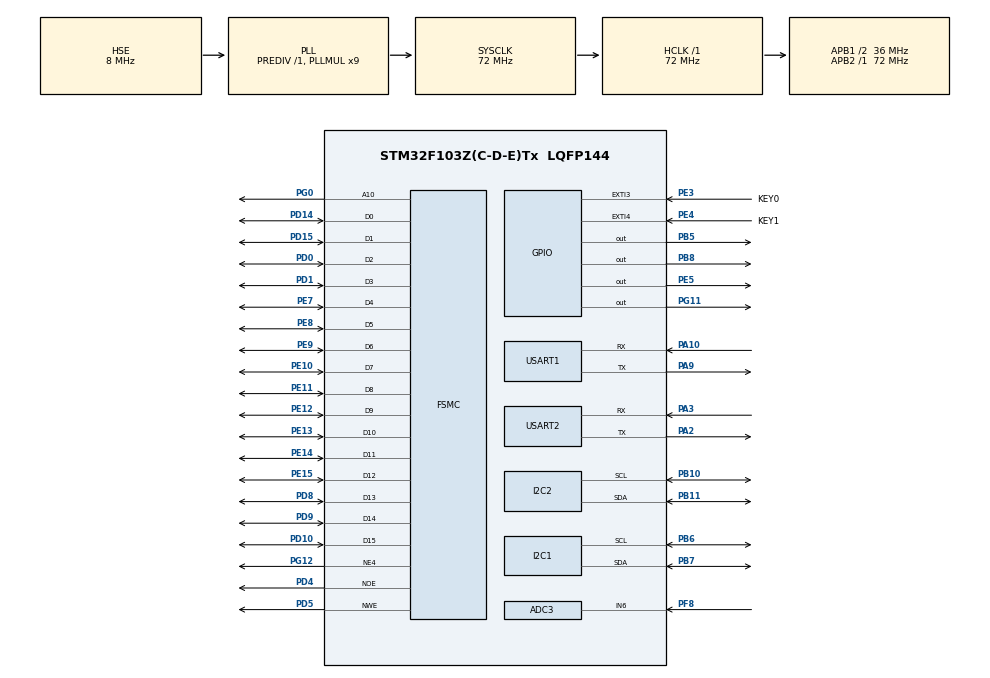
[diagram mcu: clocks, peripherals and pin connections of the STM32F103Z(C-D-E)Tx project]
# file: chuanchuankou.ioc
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ADC3.Channel-2\#ChannelRegularConversion=ADC_CHANNEL_6
ADC3.NbrOfConversionFlag=1
ADC3.Rank-2\#ChannelRegularConversion=1
ADC3.SamplingTime-2\#ChannelRegularConversion=ADC_SAMPLETIME_1CYCLE_5
Mcu.Family=STM32F1
Mcu.Name=STM32F103Z(C-D-E)Tx
Mcu.Package=LQFP144
NVIC.EXTI3_IRQn=true\:0\:0\:true\:false\:true\:true\:true\:true
NVIC.EXTI4_IRQn=true\:1\:0\:true\:false\:true\:true\:true\:true
NVIC.PriorityGroup=NVIC_PRIORITYGROUP_4
OSC_IN.Mode=HSE-External-Oscillator
OSC_IN.Signal=RCC_OSC_IN
OSC_OUT.Mode=HSE-External-Oscillator
OSC_OUT.Signal=RCC_OSC_OUT
PA10.Mode=Asynchronous
PA10.Signal=USART1_RX
PA13.Mode=Serial_Wire
PA13.Signal=SYS_JTMS-SWDIO
PA14.Mode=Serial_Wire
PA14.Signal=SYS_JTCK-SWCLK
PA2.Mode=Asynchronous
PA2.Signal=USART2_TX
PA3.Mode=Asynchronous
PA3.Signal=USART2_RX
PA9.Mode=Asynchronous
PA9.Signal=USART1_TX
PB10.Mode=I2C
PB10.Signal=I2C2_SCL
PB11.Mode=I2C
PB11.Signal=I2C2_SDA
PB5.Signal=GPIO_Output
PB6.Mode=I2C
PB6.Signal=I2C1_SCL
PB7.Mode=I2C
PB7.Signal=I2C1_SDA
PB8.Signal=GPIO_Output
PD0.Signal=FSMC_D2_DA2
PD1.Signal=FSMC_D3_DA3
PD10.Signal=FSMC_D15_DA15
PD14.Signal=FSMC_D0_DA0
PD15.Signal=FSMC_D1_DA1
PD4.Signal=FSMC_NOE
PD5.Signal=FSMC_NWE
PD8.Signal=FSMC_D13_DA13
PD9.Signal=FSMC_D14_DA14
PE10.Signal=FSMC_D7_DA7
PE11.Signal=FSMC_D8_DA8
PE12.Signal=FSMC_D9_DA9
PE13.Signal=FSMC_D10_DA10
PE14.Signal=FSMC_D11_DA11
PE15.Signal=FSMC_D12_DA12
PE3.GPIO_Label=KEY0
PE3.GPIO_ModeDefaultEXTI=GPIO_MODE_IT_FALLING
PE3.Signal=GPXTI3
PE4.GPIO_Label=KEY1
PE4.GPIO_ModeDefaultEXTI=GPIO_MODE_IT_FALLING
PE4.Signal=GPXTI4
PE5.Signal=GPIO_Output
PE7.Signal=FSMC_D4_DA4
PE8.Signal=FSMC_D5_DA5
PE9.Signal=FSMC_D6_DA6
PF8.Mode=IN6
PF8.Signal=ADC3_IN6
PG0.Signal=FSMC_A10
PG11.GPIO_ModeDefaultOutputPP=GPIO_MODE_OUTPUT_OD
PG11.GPIO_PuPd=GPIO_PULLUP
PG11.Signal=GPIO_Output
PG12.Mode=NorPsramChipSelect4_1
PG12.Signal=FSMC_NE4
ProjectManager.HeapSize=0x200
ProjectManager.StackSize=0x400
ProjectManager.TargetToolchain=CMake
RCC.AHBFreq_Value=72000000
RCC.APB1CLKDivider=RCC_HCLK_DIV2
RCC.APB1Freq_Value=36000000
RCC.APB1TimFreq_Value=72000000
RCC.APB2Freq_Value=72000000
RCC.APB2TimFreq_Value=72000000
RCC.HCLKFreq_Value=72000000
RCC.PLLMUL=RCC_PLL_MUL9
RCC.PLLSourceVirtual=RCC_PLLSOURCE_HSE
RCC.SYSCLKFreq_VALUE=72000000
RCC.SYSCLKSource=RCC_SYSCLKSOURCE_PLLCLK
RCC.USBFreq_Value=72000000
SH.FSMC_A10.0=FSMC_A10,A10_1
SH.FSMC_D0_DA0.0=FSMC_D0,16b-d1
SH.FSMC_D10_DA10.0=FSMC_D10,16b-d1
SH.FSMC_D11_DA11.0=FSMC_D11,16b-d1
SH.FSMC_D12_DA12.0=FSMC_D12,16b-d1
SH.FSMC_D13_DA13.0=FSMC_D13,16b-d1
SH.FSMC_D14_DA14.0=FSMC_D14,16b-d1
SH.FSMC_D15_DA15.0=FSMC_D15,16b-d1
SH.FSMC_D1_DA1.0=FSMC_D1,16b-d1
SH.FSMC_D2_DA2.0=FSMC_D2,16b-d1
SH.FSMC_D3_DA3.0=FSMC_D3,16b-d1
SH.FSMC_D4_DA4.0=FSMC_D4,16b-d1
SH.FSMC_D5_DA5.0=FSMC_D5,16b-d1
SH.FSMC_D6_DA6.0=FSMC_D6,16b-d1
SH.FSMC_D7_DA7.0=FSMC_D7,16b-d1
SH.FSMC_D8_DA8.0=FSMC_D8,16b-d1
SH.FSMC_D9_DA9.0=FSMC_D9,16b-d1
SH.FSMC_NOE.0=FSMC_NOE,Lcd1
SH.FSMC_NWE.0=FSMC_NWE,Lcd1
USART1.VirtualMode=VM_ASYNC
USART2.VirtualMode=VM_ASYNC
VP_TIM1_VS_ClockSourceINT.Mode=Internal
board=custom

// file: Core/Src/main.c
/* USER CODE BEGIN Header */
/**
  ******************************************************************************
  * @file           : main.c
  * @brief          : Main program body
  ******************************************************************************
  * @attention
  *
  * Copyright (c) 2025 STMicroelectronics.
  * All rights reserved.
  *
  * This software is licensed under terms that can be found in the LICENSE file
  * in the root directory of this software component.
  * If no LICENSE file comes with this software, it is provided AS-IS.
  *
  ******************************************************************************
  */
/* USER CODE END Header */
#include "main.h"
#include "adc.h"
#include "i2c.h"
#include "tim.h"
#include "usart.h"
#include "gpio.h"
#include "fsmc.h"

/* USER CODE BEGIN Includes */
//#include "globals.h"
#include "tct.h"
#include "string.h"
#include "dht11.h"
//#include "stdlib.h"
//#include "lcdfont.h"
//#include "adc.h"
/* USER CODE END Includes */

/* USER CODE BEGIN PV */
volatile uint8_t exit_inner_loop = 0;
/* USER CODE END PV */

void SystemClock_Config(void);

/* USER CODE BEGIN 0 */
uint8_t PCF8591_Read_AIN1(I2C_HandleTypeDef *hi2c) {
  uint8_t cmd = 0x41;
  uint8_t adc_data = 0;
  HAL_I2C_Master_Transmit(hi2c, 0x90, &cmd, 1, 100);
  HAL_I2C_Master_Receive(hi2c, 0x90, &adc_data, 1, 100);
  return adc_data;
}

uint8_t PCF8591_Read_AIN2(I2C_HandleTypeDef *hi2c) {
  uint8_t cmd2 = 0x42;
  uint8_t adc_data2 = 0;
  HAL_I2C_Master_Transmit(hi2c, 0x90, &cmd2, 1, 100);
  HAL_I2C_Master_Receive(hi2c, 0x90, &adc_data2, 1, 100);
  return adc_data2;
}

/* USER CODE END 0 */

int main(void)
{

  /* MCU Configuration--------------------------------------------------------*/

  /* Reset of all peripherals, Initializes the Flash interface and the Systick. */
  HAL_Init();

  /* Configure the system clock */
  SystemClock_Config();

  /* Initialize all configured peripherals */
  MX_GPIO_Init();
  MX_FSMC_Init();
  MX_USART1_UART_Init();
  MX_I2C2_Init();
  MX_USART2_UART_Init();
  MX_ADC3_Init();
  MX_I2C1_Init();
  MX_TIM1_Init();
  /* USER CODE BEGIN 2 */
  HAL_TIM_Base_Start(&htim1); // Start TIM1 for DHT11 delays
    delay_init(72);
    uint8_t humidity;
  uint8_t MyTemP;
  dht11_init();
  uint8_t temperature;
  char god[64];
  uint16_t t = 0;

    led_init();
    lcd_init();
    //adc_temperature_init();
  //short temp;
    //lcd_show_string(30, 50, 200, 16, 16, "hello world");
  /* USER CODE END 2 */

  /* Infinite loop */
  /* USER CODE BEGIN WHILE */

    HAL_GPIO_TogglePin(LED0_GPIO_Port, LED0_Pin);
    HAL_GPIO_TogglePin(LED1_GPIO_Port, LED1_Pin);

 HAL_GPIO_WritePin(GPIOB, GPIO_PIN_8, GPIO_PIN_SET);
  HAL_Delay(70);

    HAL_GPIO_TogglePin(LED0_GPIO_Port, LED0_Pin);
    HAL_GPIO_TogglePin(LED1_GPIO_Port, LED1_Pin);

  HAL_GPIO_WritePin(GPIOB, GPIO_PIN_8, GPIO_PIN_RESET);
  HAL_Delay(170);

    HAL_GPIO_TogglePin(LED0_GPIO_Port, LED0_Pin);
    HAL_GPIO_TogglePin(LED1_GPIO_Port, LED1_Pin);

  HAL_GPIO_WritePin(GPIOB,GPIO_PIN_8,GPIO_PIN_SET);
  HAL_Delay(70);

    HAL_GPIO_TogglePin(LED0_GPIO_Port, LED0_Pin);
    HAL_GPIO_TogglePin(LED1_GPIO_Port, LED1_Pin);

  HAL_GPIO_WritePin(GPIOB, GPIO_PIN_8, GPIO_PIN_RESET);HAL_Delay(170);

    HAL_GPIO_TogglePin(LED0_GPIO_Port, LED0_Pin);
    HAL_GPIO_TogglePin(LED1_GPIO_Port, LED1_Pin);

  HAL_GPIO_WritePin(GPIOB,GPIO_PIN_8,GPIO_PIN_SET);
  HAL_Delay(800);
  HAL_GPIO_WritePin(GPIOB,GPIO_PIN_8,GPIO_PIN_RESET);

    Chinese_Show_one(95,20, 20, 16, 0);
    Chinese_Show_one(110,20, 21, 16, 0);
    Chinese_Show_one(125,20, 22, 16, 0);
    Chinese_Show_one(140,20, 23, 16, 0);
    Chinese_Show_one(155,20, 24, 16, 0);
    Chinese_Show_one(170,20, 25, 16, 0);
    Chinese_Show_one(185,20, 26, 16, 0);
    Chinese_Show_one(200,20, 27, 16, 0);
    Chinese_Show_one(215,20, 28, 16, 0);

    delay_ms(10);
     lcd_show_string(60, 50, 200, 18, 16, "@@...@@ ######### @@...@@",  BLACK);
    delay_ms(20);
     lcd_show_string(60, 70, 200, 18, 16, "#@@...@@ ####### @@...@@#", BLACK);//1   25个字符
    delay_ms(30);
     lcd_show_string(60, 90, 200, 18, 16, "# @@....@ ##### @....@@ #", BLACK);//2
    delay_ms(40);
    lcd_show_string(60, 110, 200, 18, 16, "## @.....@ ### @.....@ ##", BLACK);//3
    delay_ms(50);
    lcd_show_string(60, 130, 200, 18, 16, "### @@....@ # @....@@ ###", BLACK);//4
    delay_ms(60);
    lcd_show_string(60, 150, 200, 18, 16, "######@.... @ ....@######", BLACK);//5
    delay_ms(70);
    lcd_show_string(60, 170, 200, 18, 16, "######@.... @ ....@######", BLACK);//6
    delay_ms(80);
    lcd_show_string(60, 190, 200, 18, 16, "### @@....@ # @....@@ ###", BLACK);//7
    delay_ms(100);
    lcd_show_string(60, 210, 200, 18, 16, "## @.....@ ### @.....@ ##", BLACK);//8
    delay_ms(100);
    lcd_show_string(60, 230, 200, 18, 16, "# @.....@ ##### @.....@ #", BLACK);//9
    delay_ms(80);
    lcd_show_string(60, 250, 200, 18, 16, "#@@...@@ ####### @@...@@#", BLACK);//10
    delay_ms(70);
    lcd_show_string(60, 270, 200, 18, 16, "@@...@@ ######### @@...@@", BLACK);//11
    HAL_Delay(60);
  //show_picture(60, 50, 120, 240,(unsigned short *)gImage_HEAD240240);
    //show_picture(60, 50, 60, 60,A);
  HAL_Delay(100);
//how_picture(60, 50,60,360,gImage_tct)
// show_picture(01, 80, 360, 180,(unsigned short *)gImage_tct);
//Display_picture(60, 50, 240, 240,(unsigned short *)gImage_tct);
  HAL_Delay(100);

    lcd_show_string(60, 290, 200, 18, 16, "-------------------------", BLACK);
    delay_ms(10);
    lcd_show_string(60, 290, 200, 18, 16, "-H-----------------------", BLACK);
    delay_ms(5);
    lcd_show_string(60, 290, 200, 18, 16, "-HE----------------------", BLACK);
    delay_ms(5);
    lcd_show_string(60, 290, 200, 18, 16, "-HEL---------------------", BLACK);
    delay_ms(5);
    lcd_show_string(60, 290, 200, 18, 16, "-HELL--------------------", BLACK);
    delay_ms(5);
    lcd_show_string(60, 290, 200, 18, 16, "-HELLO-------------------", BLACK);
    delay_ms(5);
    lcd_show_string(60, 290, 200, 18, 16, "-HELLO-W-----------------", BLACK);
    delay_ms(5);
    lcd_show_string(60, 290, 200, 18, 16, "-HELLO-WO----------------", BLACK);
    delay_ms(5);
    lcd_show_string(60, 290, 200, 18, 16, "-HELLO-WOR---------------", BLACK);
    delay_ms(5);
    lcd_show_string(60, 290, 200, 18, 16, "-HELLO-WORL--------------", BLACK);
    delay_ms(5);
    lcd_show_string(60, 290, 200, 18, 16, "-HELLO-WORLD-------------", BLACK);
    delay_ms(5);
    lcd_show_string(60, 290, 200, 18, 16, "-HELLO-WORLD-H-----------", BLACK);
    delay_ms(5);
    lcd_show_string(60, 290, 200, 18, 16, "-HELLO-WORLD-HE----------", BLACK);
    delay_ms(5);
    lcd_show_string(60, 290, 200, 18, 16, "-HELLO-WORLD-HEL---------", BLACK);
    delay_ms(5);
    lcd_show_string(60, 290, 200, 18, 16, "-HELLO-WORLD-HELL--------", BLACK);
    delay_ms(5);
    lcd_show_string(60, 290, 200, 18, 16, "-HELLO-WORLD-HELLO-------", BLACK);
    delay_ms(5);
    lcd_show_string(60, 290, 200, 18, 16, "-HELLO-WORLD-HELLO-W-----", BLACK);
    delay_ms(5);
    lcd_show_string(60, 290, 200, 18, 16, "-HELLO-WORLD-HELLO-WO----", BLACK);
    delay_ms(5);
    lcd_show_string(60, 290, 200, 18, 16, "-HELLO-WORLD-HELLO-WOR---", BLACK);
    delay_ms(5);
    lcd_show_string(60, 290, 200, 18, 16, "-HELLO-WORLD-HELLO-WORL--", BLACK);
    delay_ms(5);
    lcd_show_string(60, 290, 200, 18, 16, "-HELLO-WORLD-HELLO-WORLD-", BLACK);
//ahdfiawhfjkahnjka
    Chinese_Show_one(60, 310, 8, 16, 0);
    Chinese_Show_one(240, 310, 9, 16, 0);
    delay_ms(5);
     Chinese_Show_one(80, 310, 0, 16, 0);
    delay_ms(5);
    Chinese_Show_one(100, 310, 5, 16, 0);
    delay_ms(5);
    Chinese_Show_one(120, 310, 2, 16, 0);
    delay_ms(5);
    Chinese_Show_one(140, 310, 7, 16, 0);
    delay_ms(5);
    Chinese_Show_one(160, 310, 0, 16, 0);
    delay_ms(5);
    Chinese_Show_one(180, 310, 5, 16, 0);
    delay_ms(5);
    Chinese_Show_one(200, 310, 2, 16, 0);
    delay_ms(5);
    Chinese_Show_one(220, 310, 7, 16, 0);
    delay_ms(5);

    //Chinese_Show_one(240, 310, 9, 16, 0);
///
//
///
    Chinese_Show_one(60, 330, 16, 16, 0);
    delay_ms(3);
    Chinese_Show_one(80, 330, 17, 16, 0);
    delay_ms(3);
    Chinese_Show_one(100, 330, 18, 16, 0);
    delay_ms(3);
    Chinese_Show_one(120, 330, 19, 16, 0);
    delay_ms(3);

    Chinese_Show_one(140, 330, 13, 16, 0);
    delay_ms(3);
    Chinese_Show_one(155, 330, 14, 16, 0);
    delay_ms(3);
    Chinese_Show_one(170, 330, 15, 16, 0);
    delay_ms(3);

    Chinese_Show_one(200, 330, 10, 16, 0);
    delay_ms(3);
    Chinese_Show_one(215, 330, 11, 16, 0);
    delay_ms(3);
    Chinese_Show_one(230, 330, 12, 16, 0);
    delay_ms(3);

    Chinese_Show_one(60, 350, 29, 16, 0);
    delay_ms(3);
    Chinese_Show_one(100, 350, 30, 16, 0);
    delay_ms(3);
    Chinese_Show_one(120, 350, 19, 16, 0);
    delay_ms(3);

    lcd_show_string(140, 350, 200, 18, 16, "--------", BLACK);
    delay_ms(14);
    lcd_show_string(140, 350, 200, 18, 16, "2-------", BLACK);
    delay_ms(14);
    lcd_show_string(140, 350, 200, 18, 16, "20------", BLACK);
    delay_ms(14);
    lcd_show_string(140, 350, 200, 18, 16, "202-----", BLACK);
    delay_ms(14);
    lcd_show_string(140, 350, 200, 18, 16, "2025----", BLACK);
    delay_ms(14);
    lcd_show_string(140, 350, 200, 18, 16, "20252---", BLACK);
    delay_ms(14);
    lcd_show_string(140, 350, 200, 18, 16, "202527--", BLACK);
    delay_ms(14);
    lcd_show_string(140, 350, 200, 18, 16, "2025273-", BLACK);
    delay_ms(14);
    lcd_show_string(140, 350, 200, 18, 16, "20252738", BLACK);
    delay_ms(14);
    lcd_show_string(140, 370, 200, 18, 16, "--------", BLACK);
    delay_ms(14);
    lcd_show_string(140, 370, 200, 18, 16, "2-------", BLACK);
    delay_ms(14);
    lcd_show_string(140, 370, 200, 18, 16, "20------", BLACK);
    delay_ms(14);
    lcd_show_string(140, 370, 200, 18, 16, "202-----", BLACK);
    delay_ms(14);
    lcd_show_string(140, 370, 200, 18, 16, "2025----", BLACK);
    delay_ms(14);
    lcd_show_string(140, 370, 200, 18, 16, "20251---", BLACK);
    delay_ms(14);
    lcd_show_string(140, 370, 200, 18, 16, "202516--", BLACK);
    delay_ms(14);
    lcd_show_string(140, 370, 200, 18, 16, "2025164-", BLACK);
    delay_ms(14);
    lcd_show_string(140, 370, 200, 18, 16, "20251643", BLACK);
    delay_ms(14);

    HAL_Delay(1500);
  lcd_show_string(60, 50, 200, 18, 16, "                         ",  BLACK);

  lcd_show_string(60, 70, 200, 18, 16, "                         ", BLACK);//1

  lcd_show_string(60, 250, 200, 18, 16, "                         ", BLACK);//10

  lcd_show_string(60, 270, 200, 18, 16, "                         ", BLACK);//11

  show_picture(01, 80, 360, 180,(unsigned short *)gImage_tct);

  if (exit_inner_loop == 1) {
    HAL_Delay(10);
    goto A;
  }
    lcd_show_string(60, 290, 200, 18, 16, "-------------------------", BLACK);
  if (exit_inner_loop == 1) {
    HAL_Delay(10);
    goto A;
  }
    HAL_Delay(500);
  if (exit_inner_loop == 1) {
    goto A;
  }
    lcd_show_string(60, 290, 200, 18, 16, "-HELLO-WORLD-HELLO-WORLD-", BLACK);
  if (exit_inner_loop == 1) {
    HAL_Delay(10);
    goto A;
  }
  HAL_Delay(1000);
  if (exit_inner_loop == 1) {
    HAL_Delay(10);
    goto A;
  }
    lcd_show_string(60, 290, 200, 18, 16, "------------A------------", BLACK);//为什么中断结束后会停在这里？
    HAL_Delay(500);
  if (exit_inner_loop == 1) {
    goto A;
  }
  HAL_Delay(10);
  while (1)
  {
    if (exit_inner_loop == 1) {
      HAL_Delay(20);
      goto A;
      //HAL_Delay(10);
    }

    //exit_inner_loop = 0; // 重置标志
      //if (exit_inner_loop) continue;
    HAL_Delay(10);
    if (exit_inner_loop == 1) {
      HAL_Delay(20);
      goto A;
      //HAL_Delay(10);
    }
    HAL_Delay(10);
    if (exit_inner_loop == 1) {
      HAL_Delay(20);
      goto A;
      //HAL_Delay(10);
    }

    lcd_show_string(60, 290, 200, 18, 16, "-------------------------", BLACK);
    HAL_Delay(10);
    if (exit_inner_loop == 1) {
      goto A;
    }
    // if(exit_inner_loop) continue;
    HAL_Delay(10);
    if (exit_inner_loop == 1) {
      HAL_Delay(10);
      goto A;
    }
    lcd_show_string(60, 290, 200, 18, 16, "-H-----------------------", BLACK);
    //if(exit_inner_loop) continue;
    if (exit_inner_loop == 1) {
      HAL_Delay(10);
      goto A;
    }
    delay_ms(10);
    lcd_show_string(60, 290, 200, 18, 16, "-HE----------------------", BLACK);
    //if(exit_inner_loop) continue;
    if (exit_inner_loop == 1) {
      HAL_Delay(10);
      goto A;
    }
    delay_ms(10);
    lcd_show_string(60, 290, 200, 18, 16, "-HEL---------------------", BLACK);
    //if(exit_inner_loop) continue;
    delay_ms(10);
    if (exit_inner_loop == 1) {
      HAL_Delay(10);
      goto A;
    }
    lcd_show_string(60, 290, 200, 18, 16, "-HELL--------------------", BLACK);
    //if(exit_inner_loop) continue;
    delay_ms(10);
    if (exit_inner_loop == 1) {
      HAL_Delay(10);
      goto A;
    }
    lcd_show_string(60, 290, 200, 18, 16, "-HELLO-------------------", BLACK);
    //if(exit_inner_loop) continue;
    delay_ms(10);
    if (exit_inner_loop == 1) {
      HAL_Delay(10);
      goto A;
    }
    lcd_show_string(60, 290, 200, 18, 16, "-HELLO-W-----------------", BLACK);
    //if(exit_inner_loop) continue;
    delay_ms(10);
    if (exit_inner_loop == 1) {
      HAL_Delay(10);
      goto A;
    }
    lcd_show_string(60, 290, 200, 18, 16, "-HELLO-WO----------------", BLACK);
    //if(exit_inner_loop) continue;
    HAL_Delay(10);
    lcd_show_string(60, 290, 200, 18, 16, "-HELLO-WOR---------------", BLACK);
    if (exit_inner_loop == 1) {
      HAL_Delay(10);
      goto A;
    }
    //if(exit_inner_loop) continue;
    HAL_Delay(10);
    lcd_show_string(60, 290, 200, 18, 16, "-HELLO-WORL--------------", BLACK);
    //if(exit_inner_loop) continue;
    HAL_Delay(10);
    if (exit_inner_loop == 1) {
      HAL_Delay(10);
      goto A;
    }
    lcd_show_string(60, 290, 200, 18, 16, "-HELLO-WORLD-------------", BLACK);
    //if(exit_inner_loop) continue;
    HAL_Delay(10);
    if (exit_inner_loop == 1) {
      HAL_Delay(10);
      goto A;
    }
    lcd_show_string(60, 290, 200, 18, 16, "-HELLO-WORLD-H-----------", BLACK);
    //if(exit_inner_loop) continue;
    delay_ms(10);
    if (exit_inner_loop == 1) {
      HAL_Delay(10);
      goto A;
    }
    lcd_show_string(60, 290, 200, 18, 16, "-HELLO-WORLD-HE----------", BLACK);
    //if(exit_inner_loop) continue;
    delay_ms(10);
    if (exit_inner_loop == 1) {
      HAL_Delay(10);
      goto A;
    }
    lcd_show_string(60, 290, 200, 18, 16, "-HELLO-WORLD-HEL---------", BLACK);
    //if(exit_inner_loop) continue;
    delay_ms(10);
    if (exit_inner_loop == 1) {
      HAL_Delay(10);
      goto A;
    }
    lcd_show_string(60, 290, 200, 18, 16, "-HELLO-WORLD-HELL--------", BLACK);
    if (exit_inner_loop == 1) {
      HAL_Delay(10);
      goto A;
    }
    //if(exit_inner_loop) continue;
    delay_ms(10);
    if (exit_inner_loop == 1) {
      HAL_Delay(10);
      goto A;
    }
    lcd_show_string(60, 290, 200, 18, 16, "-HELLO-WORLD-HELLO-------", BLACK);
    //if(exit_inner_loop) continue;
    HAL_Delay(10);
    lcd_show_string(60, 290, 200, 18, 16, "-HELLO-WORLD-HELLO-W-----", BLACK);
    //if(exit_inner_loop) continue;
    HAL_Delay(10);
    if (exit_inner_loop == 1) {
      HAL_Delay(10);
      goto A;
    }
    lcd_show_string(60, 290, 200, 18, 16, "-HELLO-WORLD-HELLO-WO----", BLACK);
    //if(exit_inner_loop) continue;
    delay_ms(10);
    if (exit_inner_loop == 1) {
      HAL_Delay(10);
      goto A;
    }
    lcd_show_string(60, 290, 200, 18, 16, "-HELLO-WORLD-HELLO-WOR---", BLACK);
    //if(exit_inner_loop) continue;
    HAL_Delay(10);
    if (exit_inner_loop == 1) {
      HAL_Delay(10);
      goto A;
    }
    lcd_show_string(60, 290, 200, 18, 16, "-HELLO-WORLD-HELLO-WORL--", BLACK);
    //if(exit_inner_loop) continue;
    delay_ms(10);
    if (exit_inner_loop == 1) {
      HAL_Delay(10);
      goto A;
    }
    lcd_show_string(60, 290, 200, 18, 16, "-HELLO-WORLD-HELLO-WORLD-", BLACK);
    //if(exit_inner_loop) continue;
    delay_ms(1000);
    if (exit_inner_loop == 1) {
      HAL_Delay(10);
      goto A;
    }
    lcd_show_string(60, 290, 200, 18, 16, "-------------------------", BLACK);
    //if(exit_inner_loop) continue;
    delay_ms(500);
    if (exit_inner_loop == 1) {
      HAL_Delay(10);
      goto A;
    }
    lcd_show_string(60, 290, 200, 18, 16, "-HELLO-WORLD-HELLO-WORLD-", BLACK);
    //if(exit_inner_loop) continue;
    delay_ms(1000);
    if (exit_inner_loop == 1) {
      HAL_Delay(10);
      goto A;
    }
    HAL_Delay(10);
    lcd_show_string(60, 290, 200, 18, 16, "-------------------------", BLACK);
    //if(exit_inner_loop) continue;
    HAL_Delay(500);
    if (exit_inner_loop == 1) {
      HAL_Delay(10);
      goto A;
    }

    //lcd_show_string(30, 50, 200, 16, 20, "hello world", GREEN);

    /* USER CODE END WHILE */

    /* USER CODE BEGIN 3 */
  }
  A:
  lcd_clear(BLUE);
  HAL_Delay(1000);
    lcd_draw_circle(170, 240, 30,WHITE);
    lcd_draw_circle(120, 300,70,WHITE);
    lcd_draw_circle(300, 120, 100,WHITE);
    lcd_draw_circle(70, 470, 120,WHITE);
while(1){
  // 检查是否需要读取DHT11传感器
  dht11_read_data(&MyTemP, &humidity);
  int len = sprintf(god, "HUMINOW:%d", humidity);
  HAL_UART_Transmit(&huart1, (uint8_t *)god, len, 100);
  lcd_show_string(40, 120, 200, 18, 32, god, BLUE);

  HAL_UART_Transmit(&huart1, (uint8_t *)god, strlen(god), 100);

  uint16_t adc_val = PCF8591_Read_AIN1(&hi2c2);
  adc_val = 1000 - adc_val;
  delay_ms(2);
  while (adc_val > 700) {
    delay_ms(9);
    adc_val = 900 - adc_val;
    delay_ms(9);
  }

  HAL_Delay(2);
  //adc_val = 1000 - adc_val;
  char send_buf[32];
  HAL_Delay(4);
  if (adc_val > 900) {
    HAL_Delay(3);
    adc_val = 900 - adc_val;
    HAL_Delay(2);
  }

   HAL_Delay(4);

  LED0_TOGGLE();

  char buffer[32];
  HAL_Delay(9);
  if (adc_val > 700) {
    HAL_Delay(9);
    adc_val = 900 - adc_val;
    HAL_Delay(9);
    while (adc_val > 700) {
      HAL_Delay(9);
      adc_val = 900 - adc_val;
      HAL_Delay(9);
    }

    sprintf(buffer, "TEMP:%d", adc_val);
    lcd_show_string(40, 40, 200, 18, 32, buffer, BLUE);
     sprintf(send_buf,"TEMP Value:%d\r\n",adc_val);
      HAL_UART_Transmit(&huart1, (uint8_t *)send_buf, strlen(send_buf), 100);
  }
  else {
  sprintf(buffer, "TEMP:%d", adc_val);
  lcd_show_string(40, 40, 200, 18, 32, buffer, BLUE);
     sprintf(send_buf,"TEMP:%d\r\n",adc_val);
      HAL_UART_Transmit(&huart1, (uint8_t *)send_buf, strlen(send_buf), 100);
  }
   HAL_Delay(9);

  uint8_t adc_val2 = PCF8591_Read_AIN2(&hi2c2);
  char buffer2[32];
  //char send_buf2[32];
  adc_val2 = 600 - adc_val2;
  while (adc_val2 > 400) {
    delay_ms(2);
    adc_val2 = 600 - adc_val2;
    delay_ms(2);
  }
  sprintf(buffer2, "LIGHT:%d", adc_val2);
  HAL_UART_Transmit(&huart1, (uint8_t *)buffer2, strlen(buffer2), 100);
  HAL_Delay(2);
  lcd_show_string(40, 80, 200, 18, 32, buffer2, BLUE);
  HAL_Delay(2);

  //dht11_read_data(&temperature, &humidity);
  //int len = sprintf(god, "TEMP:%d,Humi:%d%%\r\n", temperature,humidity);
  //sprintf(god, "TEMP:%d,Humi:%d%%\r\n", temperature,humidity);
  //HAL_UART_Transmit(&huart2, (uint8_t *)god, len, 100);
  //lcd_show_string(40, 120, 200, 18, 32, god, BLUE);
  //temp = adc_get_temperature();

}    //5
  //lcd_clear(BLUE);

  /* USER CODE END 3 */
}

void SystemClock_Config(void)
{
  RCC_OscInitTypeDef RCC_OscInitStruct = {0};
  RCC_ClkInitTypeDef RCC_ClkInitStruct = {0};
  RCC_PeriphCLKInitTypeDef PeriphClkInit = {0};

  /** Initializes the RCC Oscillators according to the specified parameters
  * in the RCC_OscInitTypeDef structure.
  */
  RCC_OscInitStruct.OscillatorType = RCC_OSCILLATORTYPE_HSE;
  RCC_OscInitStruct.HSEState = RCC_HSE_ON;
  RCC_OscInitStruct.HSEPredivValue = RCC_HSE_PREDIV_DIV1;
  RCC_OscInitStruct.HSIState = RCC_HSI_ON;
  RCC_OscInitStruct.PLL.PLLState = RCC_PLL_ON;
  RCC_OscInitStruct.PLL.PLLSource = RCC_PLLSOURCE_HSE;
  RCC_OscInitStruct.PLL.PLLMUL = RCC_PLL_MUL9;
  if (HAL_RCC_OscConfig(&RCC_OscInitStruct) != HAL_OK)
  {
    Error_Handler();
  }

  /** Initializes the CPU, AHB and APB buses clocks
  */
  RCC_ClkInitStruct.ClockType = RCC_CLOCKTYPE_HCLK|RCC_CLOCKTYPE_SYSCLK
                              |RCC_CLOCKTYPE_PCLK1|RCC_CLOCKTYPE_PCLK2;
  RCC_ClkInitStruct.SYSCLKSource = RCC_SYSCLKSOURCE_PLLCLK;
  RCC_ClkInitStruct.AHBCLKDivider = RCC_SYSCLK_DIV1;
  RCC_ClkInitStruct.APB1CLKDivider = RCC_HCLK_DIV2;
  RCC_ClkInitStruct.APB2CLKDivider = RCC_HCLK_DIV1;

  if (HAL_RCC_ClockConfig(&RCC_ClkInitStruct, FLASH_LATENCY_2) != HAL_OK)
  {
    Error_Handler();
  }
  PeriphClkInit.PeriphClockSelection = RCC_PERIPHCLK_ADC;
  PeriphClkInit.AdcClockSelection = RCC_ADCPCLK2_DIV2;
  if (HAL_RCCEx_PeriphCLKConfig(&PeriphClkInit) != HAL_OK)
  {
    Error_Handler();
  }
}

void Error_Handler(void)
{
  __disable_irq();
  while (1)
  {
  }
}
